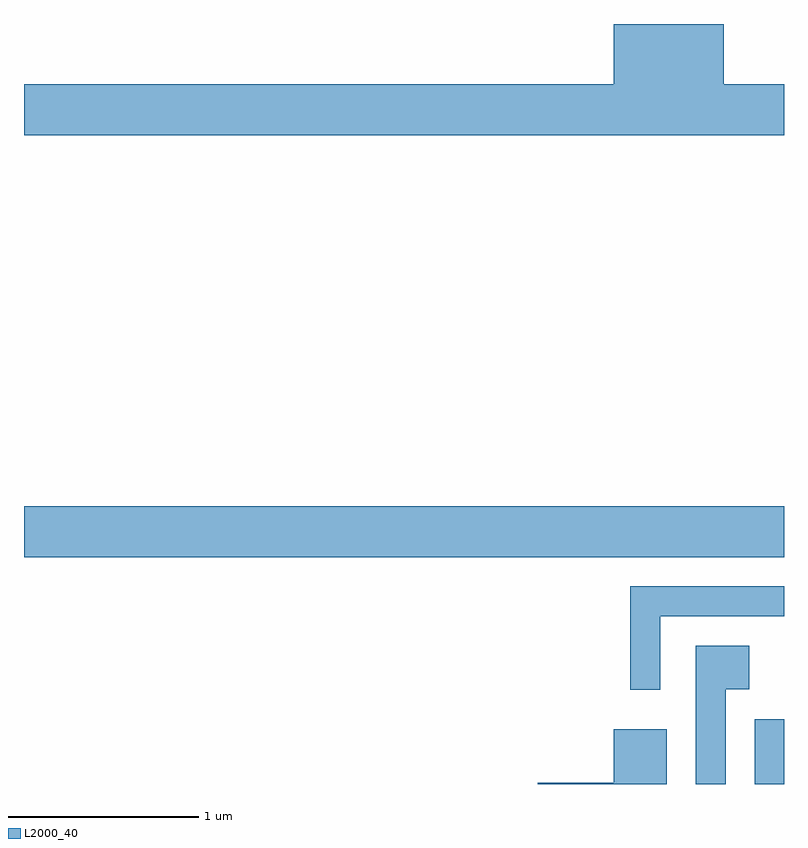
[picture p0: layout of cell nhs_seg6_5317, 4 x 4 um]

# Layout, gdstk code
import gdstk
lib = gdstk.Library(unit=1e-6, precision=1e-09)
def R(c, l, rs):  # rectangles x0, y0, x1, y1
    for r in rs: c.add(gdstk.rectangle(r[:2], r[2:], *l))
def P(c, l, *ps):  # polygons
    for p in ps: c.add(gdstk.Polygon(p, *l))
L2000_40 = (2000, 40)

nhs_seg6_5317 = lib.new_cell('nhs_seg6_5317')
R(nhs_seg6_5317, L2000_40, [(351.456,1562.162,351.611,1562.504), (347.611,1563.356,351.611,1563.624)])
P(nhs_seg6_5317, L2000_40, [(351.611,1565.844),(351.294,1565.844),(351.294,1566.162),(350.716,1566.162),(350.716,1565.844),(347.611,1565.844),(347.611,1565.576),(351.611,1565.576)],
  [(350.959,1563.046),(351.611,1563.046),(351.611,1563.204),(350.801,1563.204),(350.801,1562.658),(350.959,1562.658)],
  [(351.304,1562.661),(351.429,1562.661),(351.429,1562.889),(351.146,1562.889),(351.146,1562.162),(351.304,1562.162)],
  [(350.994,1562.449),(350.716,1562.449),(350.716,1562.169),(350.316,1562.169),(350.316,1562.162),(350.994,1562.162)])

lib.write_gds('nhs_seg6_5317.gds')
